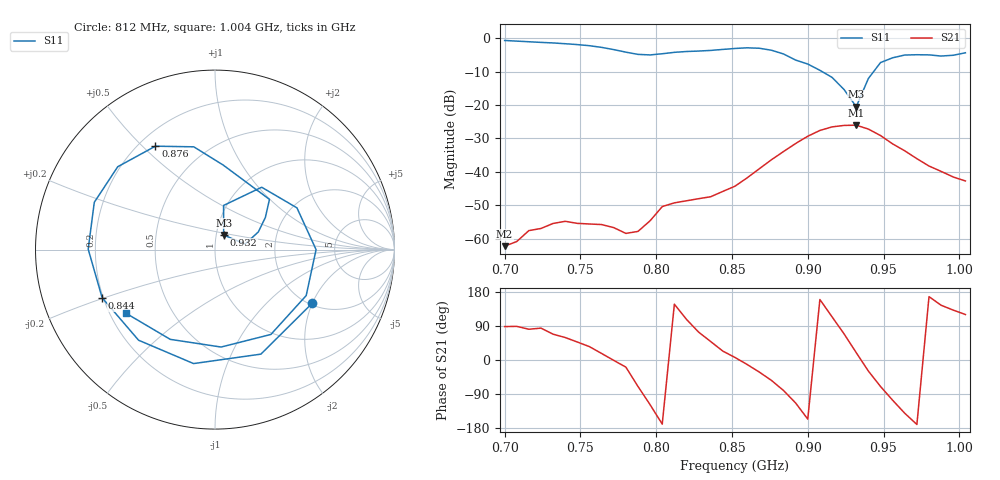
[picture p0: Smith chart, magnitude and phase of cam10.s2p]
# Hz S RI R 50
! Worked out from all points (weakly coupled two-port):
!   39 points, 700 MHz to 1.004 GHz, reference 50 ohm
!   highest |S21| = -26.02 dB at 932 MHz (marker M1); lowest = -62.3 dB at 700 MHz (marker M2)
!   lowest |S11| = -20.5 dB at 932 MHz (marker M3), VSWR 1.21, Z = 54.3 + j8.91 ohm
!   |S11| at or under -10 dB: 909.6 MHz to 943.4 MHz (33.74 MHz wide, 3.64 % of centre)
!   S12 and S22 are empty: the file has one direction only
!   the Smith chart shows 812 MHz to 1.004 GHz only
!   S11 on the Smith chart (normalised r, x): 812 MHz: 2.05, -1.99; 844 MHz: 0.20, -0.20; 876 MHz: 0.26, +0.55; 932 MHz: 1.09, +0.18; 1.004 GHz: 0.27, -0.30
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7e8  0.7669 0.5286  2.44e-05 0.000768  0 0  0 0
7.24e8  0.8311 -0.261  0.000146 0.00141  0 0  0 0
7.4e8  0.4444 -0.7035  0.000925 0.00156  0 0  0 0
7.56e8  -0.1969 -0.7517  0.00135 0.000953  0 0  0 0
7.72e8  -0.6531 -0.1868  0.00146 -2.54e-05  0 0  0 0
7.8e8  -0.5772 0.232  0.00113 -0.000385  0 0  0 0
7.88e8  -0.226 0.5298  0.000441 -0.0012  0 0  0 0
7.96e8  0.2595 0.5022  -0.000871 -0.00163  0 0  0 0
8.04e8  0.5703 0.1462  -0.00296 -0.000565  0 0  0 0
8.12e8  0.5407 -0.2998  -0.00288 0.00185  0 0  0 0
8.28e8  -0.1193 -0.635  0.00112 0.00379  0 0  0 0
8.44e8  -0.6288 -0.2684  0.00467 0.00202  0 0  0 0
8.52e8  -0.7065 0.00247  0.00605 0.000709  0 0  0 0
8.76e8  -0.3322 0.5762  0.00896 -0.0122  0 0  0 0
9e8  0.3035 0.2798  -0.0312 -0.0139  0 0  0 0
9.08e8  0.2804 0.1786  -0.0391 0.0146  0 0  0 0
9.32e8  0.0483 0.0812  0.0472 0.0165  0 0  0 0
9.4e8  0.0477 0.246  0.0382 -0.0213  0 0  0 0
9.56e8  0.4565 0.2326  -0.00729 -0.0252  0 0  0 0
9.64e8  0.5631 -6.93e-05  -0.0159 -0.0131  0 0  0 0
9.8e8  0.3114 -0.4727  -0.0119 0.0027  0 0  0 0
1.004e9  -0.4939 -0.3558  -0.00365 0.00631  0 0  0 0
